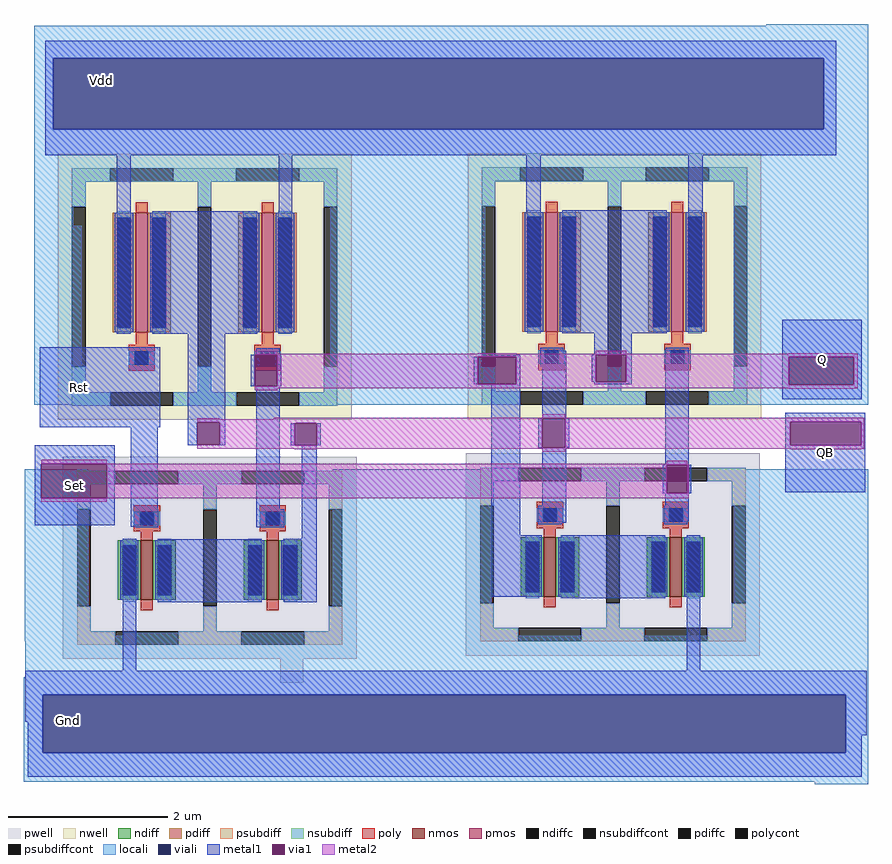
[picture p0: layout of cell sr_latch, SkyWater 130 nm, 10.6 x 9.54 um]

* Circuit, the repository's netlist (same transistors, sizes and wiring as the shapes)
* NGSPICE file created from sr_latch.ext - technology: sky130A

.subckt sky130_fd_pr__pfet_01v8_KF6HW3 B D S G
X0 S G D B sky130_fd_pr__pfet_01v8 ad=0.435 pd=3.58 as=0.435 ps=3.58 w=1.5 l=0.15
.ends

.subckt sky130_fd_pr__nfet_01v8_3GJG22 B D S G
X0 S G D B sky130_fd_pr__nfet_01v8 ad=0.2175 pd=2.08 as=0.2175 ps=2.08 w=0.75 l=0.15
.ends

.subckt sr_latch Vdd Set Rst Q QB Gnd
XXM1 Vdd Vdd QB Rst sky130_fd_pr__pfet_01v8_KF6HW3
XXM2 Vdd QB Vdd Q sky130_fd_pr__pfet_01v8_KF6HW3
XXM4 Vdd Q Vdd Set sky130_fd_pr__pfet_01v8_KF6HW3
XXM5 Gnd XM6/S QB Q sky130_fd_pr__nfet_01v8_3GJG22
XXM6 Gnd Gnd XM6/S Rst sky130_fd_pr__nfet_01v8_3GJG22
Xsky130_fd_pr__nfet_01v8_3GJG22_0 Gnd Q sky130_fd_pr__nfet_01v8_3GJG22_1/D QB sky130_fd_pr__nfet_01v8_3GJG22
Xsky130_fd_pr__nfet_01v8_3GJG22_1 Gnd sky130_fd_pr__nfet_01v8_3GJG22_1/D Gnd Set sky130_fd_pr__nfet_01v8_3GJG22
Xsky130_fd_pr__pfet_01v8_KF6HW3_0 Vdd Vdd Q QB sky130_fd_pr__pfet_01v8_KF6HW3
.ends

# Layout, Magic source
magic
tech sky130A
magscale 1 2
<< pwell >>
rect 1454 -1084 1512 -958
rect 1560 -1022 1572 -1020
<< locali >>
rect 2674 566 2930 570
rect 836 484 2930 566
rect 836 306 884 484
rect 2818 306 2930 484
rect 836 174 2930 306
rect 836 134 956 174
rect 836 64 934 134
rect 836 -386 956 64
rect 1580 -386 1968 174
rect 2592 -386 2930 174
rect 812 -966 972 -548
rect 1064 -966 1526 -958
rect 1586 -966 1984 -548
rect 2594 -966 2930 -548
rect 812 -978 2930 -966
rect 814 -1070 2930 -978
rect 810 -1114 2930 -1070
rect 810 -1260 858 -1114
rect 2874 -1260 2930 -1114
rect 810 -1332 2930 -1260
rect 2796 -1338 2930 -1332
<< viali >>
rect 884 306 2818 484
rect 858 -1260 2874 -1114
<< metal1 >>
rect 864 484 2850 528
rect 864 306 884 484
rect 2818 306 2850 484
rect 864 240 2850 306
rect 1044 -208 1078 240
rect 1134 -208 1396 100
rect 1450 -206 1484 240
rect 2072 -202 2108 240
rect 2162 -206 2424 102
rect 2478 -200 2514 240
rect 850 -442 1152 -242
rect 1222 -430 1316 -208
rect 1394 -260 1452 -244
rect 1380 -340 1390 -260
rect 1446 -340 1456 -260
rect 1984 -266 2056 -260
rect 1940 -334 1950 -266
rect 2046 -334 2056 -266
rect 838 -534 1038 -488
rect 838 -620 854 -534
rect 1018 -620 1038 -534
rect 838 -688 1038 -620
rect 1078 -692 1146 -442
rect 1222 -486 1246 -430
rect 1302 -486 1316 -430
rect 1222 -488 1316 -486
rect 1394 -694 1452 -340
rect 1480 -488 1490 -432
rect 1546 -488 1556 -432
rect 1508 -722 1546 -488
rect 1058 -1054 1092 -722
rect 1146 -882 1408 -724
rect 1464 -882 1546 -722
rect 1984 -714 2056 -334
rect 2112 -420 2172 -250
rect 2242 -260 2336 -206
rect 2236 -328 2246 -260
rect 2322 -328 2336 -260
rect 2242 -334 2336 -328
rect 2102 -494 2112 -420
rect 2170 -494 2180 -420
rect 2112 -682 2172 -494
rect 2420 -536 2480 -246
rect 2714 -266 2914 -172
rect 2714 -336 2730 -266
rect 2894 -336 2914 -266
rect 2714 -372 2914 -336
rect 2722 -428 2922 -406
rect 2722 -488 2734 -428
rect 2912 -488 2922 -428
rect 2414 -608 2424 -536
rect 2476 -608 2486 -536
rect 2722 -606 2922 -488
rect 2420 -678 2480 -608
rect 1984 -868 2110 -714
rect 2160 -872 2420 -714
rect 2474 -1054 2508 -714
rect 814 -1114 2926 -1054
rect 814 -1182 858 -1114
rect 820 -1260 858 -1182
rect 2874 -1216 2926 -1114
rect 2874 -1260 2914 -1216
rect 820 -1320 2914 -1260
<< via1 >>
rect 1390 -340 1446 -260
rect 1950 -334 2046 -266
rect 854 -620 1018 -534
rect 1246 -486 1302 -430
rect 1490 -488 1546 -432
rect 2246 -328 2322 -260
rect 2112 -494 2170 -420
rect 2730 -336 2894 -266
rect 2734 -488 2912 -428
rect 2424 -608 2476 -536
<< metal2 >>
rect 1390 -258 1446 -250
rect 1950 -258 2046 -256
rect 2246 -258 2322 -250
rect 2730 -258 2894 -256
rect 1390 -260 2904 -258
rect 1446 -266 2246 -260
rect 1446 -334 1950 -266
rect 2046 -328 2246 -266
rect 2322 -266 2904 -260
rect 2322 -328 2730 -266
rect 2046 -334 2730 -328
rect 1446 -336 2730 -334
rect 2894 -336 2904 -266
rect 1446 -340 2904 -336
rect 1390 -344 2904 -340
rect 1390 -350 1446 -344
rect 2730 -346 2894 -344
rect 2112 -418 2170 -410
rect 1438 -420 2920 -418
rect 1246 -422 1302 -420
rect 1438 -422 2112 -420
rect 1246 -430 2112 -422
rect 1302 -432 2112 -430
rect 1302 -486 1490 -432
rect 1246 -488 1490 -486
rect 1546 -488 2112 -432
rect 1246 -494 2112 -488
rect 2170 -428 2920 -420
rect 2170 -488 2734 -428
rect 2912 -488 2920 -428
rect 2170 -494 2920 -488
rect 1246 -496 2920 -494
rect 1490 -498 1546 -496
rect 2112 -504 2170 -496
rect 2734 -498 2912 -496
rect 854 -534 1018 -524
rect 2424 -534 2476 -526
rect 1018 -536 2480 -534
rect 1018 -608 2424 -536
rect 2476 -608 2480 -536
rect 1018 -620 2480 -608
rect 854 -630 1018 -620
use sky130_fd_pr__nfet_01v8_3GJG22  sky130_fd_pr__nfet_01v8_3GJG22_0
transform 1 0 2131 0 1 -762
box -211 -254 211 254
use sky130_fd_pr__nfet_01v8_3GJG22  sky130_fd_pr__nfet_01v8_3GJG22_1
transform 1 0 2447 0 1 -762
box -211 -254 211 254
use sky130_fd_pr__pfet_01v8_KF6HW3  sky130_fd_pr__pfet_01v8_KF6HW3_0
transform 1 0 2135 0 1 -88
box -211 -334 211 334
use sky130_fd_pr__pfet_01v8_KF6HW3  XM1
transform 1 0 1106 0 1 -90
box -211 -334 211 334
use sky130_fd_pr__pfet_01v8_KF6HW3  XM2
transform 1 0 1422 0 1 -90
box -211 -334 211 334
use sky130_fd_pr__pfet_01v8_KF6HW3  XM4
transform 1 0 2451 0 1 -88
box -211 -334 211 334
use sky130_fd_pr__nfet_01v8_3GJG22  XM5
transform 1 0 1435 0 1 -770
box -211 -254 211 254
use sky130_fd_pr__nfet_01v8_3GJG22  XM6
transform 1 0 1119 0 1 -770
box -211 -254 211 254
<< labels >>
flabel metal1 906 328 1106 528 0 FreeSans 256 0 0 0 Vdd
port 0 nsew
flabel metal1 822 -1278 1022 -1078 0 FreeSans 256 0 0 0 Gnd
port 5 nsew
flabel metal1 2714 -372 2914 -172 0 FreeSans 256 0 0 0 Q
port 3 nsew
flabel metal1 2722 -606 2922 -406 0 FreeSans 256 0 0 0 QB
port 4 nsew
flabel metal1 850 -442 1050 -242 0 FreeSans 256 0 0 0 Rst
port 2 nsew
flabel metal1 838 -688 1038 -488 0 FreeSans 256 0 0 0 Set
port 1 nsew
<< end >>

# cell sky130_fd_pr__nfet_01v8_3GJG22: kit device sky130_fd_pr__nfet_01v8, w 0.75 l 0.15 m 1 nf 1 diffcov 100 polycov 100 guard 1 glc 1 grc 1 gtc 1 gbc 1 tbcov 100 rlcov 100 topc 1 botc 0 poverlap 0 doverlap 1 lmin 0.15 wmin 0.42 class mosfet compatible {sky130_fd_pr__nfet_01v8 sky130_fd_pr__nfet_01v8_lvt sky130_fd_bs_flash__special_sonosfet_star sky130_fd_pr__nfet_g5v0d10v5 sky130_fd_pr__nfet_05v0_nvt sky130_fd_pr__nfet_03v3_nvt} full_metal 1 viasrc 100 viadrn 100 viagate 100 viagb 0 viagr 0 viagl 0 viagt 0 doports 1

# cell sky130_fd_pr__pfet_01v8_KF6HW3: kit device sky130_fd_pr__pfet_01v8, w 1.5 l 0.15 m 1 nf 1 diffcov 100 polycov 100 guard 1 glc 1 grc 1 gtc 1 gbc 1 tbcov 100 rlcov 100 topc 0 botc 1 poverlap 0 doverlap 1 lmin 0.15 wmin 0.42 class mosfet compatible {sky130_fd_pr__pfet_01v8 sky130_fd_pr__pfet_01v8_lvt sky130_fd_pr__pfet_01v8_hvt sky130_fd_pr__pfet_g5v0d10v5} full_metal 1 viasrc 100 viadrn 100 viagate 100 viagb 0 viagr 0 viagl 0 viagt 0 doports 1
